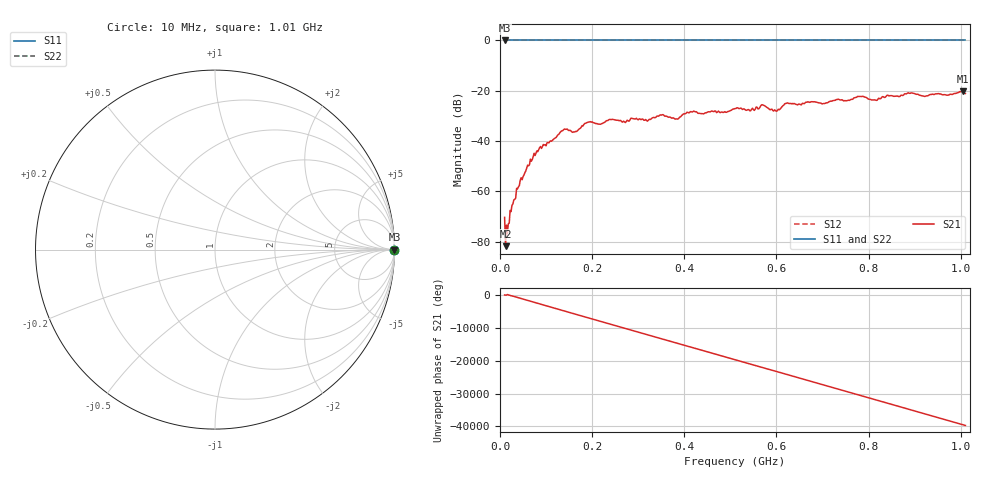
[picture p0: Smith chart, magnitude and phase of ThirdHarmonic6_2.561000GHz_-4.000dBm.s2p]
! 8/17/2025 5:17:48 AM
! C:\ANRITSUVNA\TEMP\TEMP.S2P
! CHANNEL.1
! TR.MEASUREMENT
! RAW.DATA
! RF.CORRECTION.OFF
! AVERAGING.OFF
! IF.BANDWIDTH: 5KHZ
! SWEEPTYPE:  FREQ.SWEEP(Linear)
! Reference Plane Port Info
! PORT:  PORT1  PORT2
! DISTANCE:  0  m  0  m
! TIME:  0  s  0  s
! PHASE.OFFSET:  0  deg.  0  deg.
! LOSS:  0  dB  0  dB
! REF.LOSS:  0  dB  0  dB
! REF.FREQ:  0  Hz  0  Hz
! Power Info
! POWER:  -20  dBm  -20  dBm
! EFF.POWER:  -20  dBm  -20  dBm
! SOURCE.ATTEN:  0  dB  0  dB
! TEST.ATTEN:  0  dB  0  dB
# GHZ S RI R 50.0
! FREQ.GHZ  S11RE  S11IM  S21RE  S21IM  S12RE  S12IM  S22RE  S22IM
!; PortSelection: Port_12
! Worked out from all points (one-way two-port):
!   501 points, 10 MHz to 1.01 GHz, reference 50 ohm
!   highest |S21| = -20.16 dB at 1.004 GHz (marker M1); lowest = -81.8 dB at 12 MHz (marker M2)
!   lowest |S11| = 0.0 dB at 10 MHz (marker M3)
!   |S11| at or under -10 dB: nowhere
!   |S22| runs from 0.0 to 0.0 dB; largest |S21 - S12| = 1.1
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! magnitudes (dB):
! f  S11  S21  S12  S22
! 10 MHz  0.0  -70.3  0.0  0.0
! 12 MHz  0.0  -81.8  0.0  0.0
! 16 MHz  0.0  -76.9  0.0  0.0
! 26 MHz  0.0  -65.5  0.0  0.0
! 40 MHz  0.0  -58.2  0.0  0.0
! 76 MHz  0.0  -45.7  0.0  0.0
! 136 MHz  0.0  -35.9  0.0  0.0
! 162 MHz  0.0  -36.4  0.0  0.0
! 178 MHz  0.0  -33.9  0.0  0.0
! 344 MHz  0.0  -30.1  0.0  0.0
! 384 MHz  0.0  -31.2  0.0  0.0
! 416 MHz  0.0  -28.4  0.0  0.0
! 510 MHz  0.0  -27.1  0.0  0.0
! 570 MHz  0.0  -25.6  0.0  0.0
! 598 MHz  0.0  -27.9  0.0  0.0
! 622 MHz  0.0  -25.0  0.0  0.0
! 678 MHz  0.0  -24.4  0.0  0.0
! 780 MHz  0.0  -22.2  0.0  0.0
! 814 MHz  0.0  -23.6  0.0  0.0
! 844 MHz  0.0  -22.1  0.0  0.0
! 1.004 GHz  0.0  -20.2  0.0  0.0
! 1.01 GHz  0.0  -21.1  0.0  0.0
